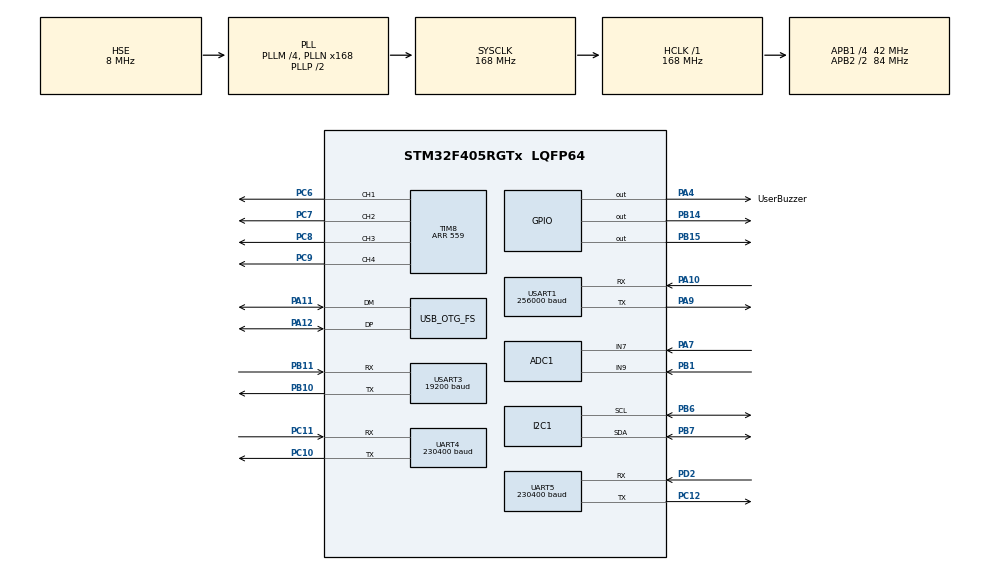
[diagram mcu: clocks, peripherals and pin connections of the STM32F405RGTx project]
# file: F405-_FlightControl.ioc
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ADC1.Channel-0\#ChannelRegularConversion=ADC_CHANNEL_7
ADC1.Channel-1\#ChannelRegularConversion=ADC_CHANNEL_9
ADC1.ClockPrescaler=ADC_CLOCK_SYNC_PCLK_DIV6
ADC1.ContinuousConvMode=ENABLE
ADC1.DMAContinuousRequests=ENABLE
ADC1.NbrOfConversion=2
ADC1.NbrOfConversionFlag=1
ADC1.Rank-0\#ChannelRegularConversion=1
ADC1.Rank-1\#ChannelRegularConversion=2
ADC1.SamplingTime-0\#ChannelRegularConversion=ADC_SAMPLETIME_480CYCLES
ADC1.SamplingTime-1\#ChannelRegularConversion=ADC_SAMPLETIME_480CYCLES
ADC1.ScanConvMode=ENABLE
ADC1.master=1
Dma.ADC1.4.Direction=DMA_PERIPH_TO_MEMORY
Dma.ADC1.4.FIFOMode=DMA_FIFOMODE_DISABLE
Dma.ADC1.4.Instance=DMA2_Stream0
Dma.ADC1.4.MemDataAlignment=DMA_MDATAALIGN_HALFWORD
Dma.ADC1.4.MemInc=DMA_MINC_ENABLE
Dma.ADC1.4.Mode=DMA_CIRCULAR
Dma.ADC1.4.PeriphDataAlignment=DMA_PDATAALIGN_HALFWORD
Dma.ADC1.4.PeriphInc=DMA_PINC_DISABLE
Dma.ADC1.4.Priority=DMA_PRIORITY_LOW
Dma.Request0=TIM8_CH1
Dma.Request1=TIM8_CH2
Dma.Request2=TIM8_CH3
Dma.Request3=TIM8_CH4/TRIG/COM
Dma.Request4=ADC1
Dma.Request5=UART5_RX
Dma.Request6=UART4_TX
Dma.Request7=USART3_RX
Dma.TIM8_CH1.0.Direction=DMA_MEMORY_TO_PERIPH
Dma.TIM8_CH1.0.FIFOMode=DMA_FIFOMODE_DISABLE
Dma.TIM8_CH1.0.Instance=DMA2_Stream2
Dma.TIM8_CH1.0.MemDataAlignment=DMA_MDATAALIGN_HALFWORD
Dma.TIM8_CH1.0.MemInc=DMA_MINC_ENABLE
Dma.TIM8_CH1.0.Mode=DMA_NORMAL
Dma.TIM8_CH1.0.PeriphDataAlignment=DMA_PDATAALIGN_HALFWORD
Dma.TIM8_CH1.0.PeriphInc=DMA_PINC_DISABLE
Dma.TIM8_CH1.0.Priority=DMA_PRIORITY_LOW
Dma.TIM8_CH2.1.Direction=DMA_MEMORY_TO_PERIPH
Dma.TIM8_CH2.1.FIFOMode=DMA_FIFOMODE_DISABLE
Dma.TIM8_CH2.1.Instance=DMA2_Stream3
Dma.TIM8_CH2.1.MemDataAlignment=DMA_MDATAALIGN_HALFWORD
Dma.TIM8_CH2.1.MemInc=DMA_MINC_ENABLE
Dma.TIM8_CH2.1.Mode=DMA_NORMAL
Dma.TIM8_CH2.1.PeriphDataAlignment=DMA_PDATAALIGN_HALFWORD
Dma.TIM8_CH2.1.PeriphInc=DMA_PINC_DISABLE
Dma.TIM8_CH2.1.Priority=DMA_PRIORITY_LOW
Dma.TIM8_CH3.2.Direction=DMA_MEMORY_TO_PERIPH
Dma.TIM8_CH3.2.FIFOMode=DMA_FIFOMODE_DISABLE
Dma.TIM8_CH3.2.Instance=DMA2_Stream4
Dma.TIM8_CH3.2.MemDataAlignment=DMA_MDATAALIGN_HALFWORD
Dma.TIM8_CH3.2.MemInc=DMA_MINC_ENABLE
Dma.TIM8_CH3.2.Mode=DMA_NORMAL
Dma.TIM8_CH3.2.PeriphDataAlignment=DMA_PDATAALIGN_HALFWORD
Dma.TIM8_CH3.2.PeriphInc=DMA_PINC_DISABLE
Dma.TIM8_CH3.2.Priority=DMA_PRIORITY_LOW
Dma.TIM8_CH4/TRIG/COM.3.Direction=DMA_MEMORY_TO_PERIPH
Dma.TIM8_CH4/TRIG/COM.3.FIFOMode=DMA_FIFOMODE_DISABLE
Dma.TIM8_CH4/TRIG/COM.3.Instance=DMA2_Stream7
Dma.TIM8_CH4/TRIG/COM.3.MemDataAlignment=DMA_MDATAALIGN_HALFWORD
Dma.TIM8_CH4/TRIG/COM.3.MemInc=DMA_MINC_ENABLE
Dma.TIM8_CH4/TRIG/COM.3.Mode=DMA_NORMAL
Dma.TIM8_CH4/TRIG/COM.3.PeriphDataAlignment=DMA_PDATAALIGN_HALFWORD
Dma.TIM8_CH4/TRIG/COM.3.PeriphInc=DMA_PINC_DISABLE
Dma.TIM8_CH4/TRIG/COM.3.Priority=DMA_PRIORITY_LOW
Dma.UART4_TX.6.Direction=DMA_MEMORY_TO_PERIPH
Dma.UART4_TX.6.FIFOMode=DMA_FIFOMODE_DISABLE
Dma.UART4_TX.6.Instance=DMA1_Stream4
Dma.UART4_TX.6.MemDataAlignment=DMA_MDATAALIGN_BYTE
Dma.UART4_TX.6.MemInc=DMA_MINC_ENABLE
Dma.UART4_TX.6.Mode=DMA_NORMAL
Dma.UART4_TX.6.PeriphDataAlignment=DMA_PDATAALIGN_BYTE
Dma.UART4_TX.6.PeriphInc=DMA_PINC_DISABLE
Dma.UART4_TX.6.Priority=DMA_PRIORITY_LOW
Dma.UART5_RX.5.Direction=DMA_PERIPH_TO_MEMORY
Dma.UART5_RX.5.FIFOMode=DMA_FIFOMODE_DISABLE
Dma.UART5_RX.5.Instance=DMA1_Stream0
Dma.UART5_RX.5.MemDataAlignment=DMA_MDATAALIGN_BYTE
Dma.UART5_RX.5.MemInc=DMA_MINC_ENABLE
Dma.UART5_RX.5.Mode=DMA_NORMAL
Dma.UART5_RX.5.PeriphDataAlignment=DMA_PDATAALIGN_BYTE
Dma.UART5_RX.5.PeriphInc=DMA_PINC_DISABLE
Dma.UART5_RX.5.Priority=DMA_PRIORITY_LOW
Dma.USART3_RX.7.Direction=DMA_PERIPH_TO_MEMORY
Dma.USART3_RX.7.FIFOMode=DMA_FIFOMODE_DISABLE
Dma.USART3_RX.7.Instance=DMA1_Stream1
Dma.USART3_RX.7.MemDataAlignment=DMA_MDATAALIGN_BYTE
Dma.USART3_RX.7.MemInc=DMA_MINC_ENABLE
Dma.USART3_RX.7.Mode=DMA_NORMAL
Dma.USART3_RX.7.PeriphDataAlignment=DMA_PDATAALIGN_BYTE
Dma.USART3_RX.7.PeriphInc=DMA_PINC_DISABLE
Dma.USART3_RX.7.Priority=DMA_PRIORITY_LOW
FREERTOS.Tasks01=defaultTask,32,128,StartDefaultTask,Default,NULL,Dynamic,NULL,NULL
FREERTOS.configCHECK_FOR_STACK_OVERFLOW=2
FREERTOS.configGENERATE_RUN_TIME_STATS=1
FREERTOS.configTOTAL_HEAP_SIZE=51200
FREERTOS.configUSE_IDLE_HOOK=1
FREERTOS.configUSE_MALLOC_FAILED_HOOK=1
FREERTOS.configUSE_STATS_FORMATTING_FUNCTIONS=1
I2C1.I2C_Mode=I2C_Fast
Mcu.Family=STM32F4
Mcu.Name=STM32F405RGTx
Mcu.Package=LQFP64
NVIC.DMA1_Stream0_IRQn=true\:5\:0\:false\:false\:true\:true\:false\:true\:true
NVIC.DMA1_Stream1_IRQn=true\:5\:0\:false\:false\:true\:true\:false\:true\:true
NVIC.DMA1_Stream4_IRQn=true\:5\:0\:false\:false\:true\:true\:false\:true\:true
NVIC.DMA2_Stream0_IRQn=true\:5\:0\:false\:false\:true\:true\:false\:true\:true
NVIC.DMA2_Stream2_IRQn=true\:5\:0\:false\:false\:true\:true\:false\:true\:true
NVIC.DMA2_Stream3_IRQn=true\:5\:0\:false\:false\:true\:true\:false\:true\:true
NVIC.DMA2_Stream4_IRQn=true\:5\:0\:false\:false\:true\:true\:false\:true\:true
NVIC.DMA2_Stream7_IRQn=true\:5\:0\:false\:false\:true\:true\:false\:true\:true
NVIC.OTG_FS_IRQn=true\:5\:0\:false\:false\:true\:true\:false\:true\:true
NVIC.PriorityGroup=NVIC_PRIORITYGROUP_4
NVIC.TIM7_IRQn=true\:15\:0\:true\:false\:true\:false\:false\:true\:true
NVIC.TimeBase=TIM7_IRQn
NVIC.TimeBaseIP=TIM7
NVIC.UART4_IRQn=true\:5\:0\:false\:false\:true\:true\:true\:true\:true
NVIC.UART5_IRQn=true\:5\:0\:false\:false\:true\:true\:true\:true\:true
NVIC.USART1_IRQn=true\:5\:0\:false\:false\:true\:true\:true\:true\:true
NVIC.USART3_IRQn=true\:5\:0\:false\:false\:true\:true\:true\:true\:true
PA10.Mode=Asynchronous
PA10.Signal=USART1_RX
PA11.Mode=Host_Only
PA11.Signal=USB_OTG_FS_DM
PA12.Mode=Host_Only
PA12.Signal=USB_OTG_FS_DP
PA13.Mode=Serial_Wire
PA13.Signal=SYS_JTMS-SWDIO
PA14.Mode=Serial_Wire
PA14.Signal=SYS_JTCK-SWCLK
PA4.GPIO_Label=UserBuzzer
PA4.Signal=GPIO_Output
PA7.Signal=ADCx_IN7
PA9.Mode=Asynchronous
PA9.Signal=USART1_TX
PB1.Signal=ADCx_IN9
PB10.Mode=Asynchronous
PB10.Signal=USART3_TX
PB11.Mode=Asynchronous
PB11.Signal=USART3_RX
PB14.PinState=GPIO_PIN_SET
PB14.Signal=GPIO_Output
PB15.PinState=GPIO_PIN_SET
PB15.Signal=GPIO_Output
PB6.Mode=I2C
PB6.Signal=I2C1_SCL
PB7.Mode=I2C
PB7.Signal=I2C1_SDA
PC10.Mode=Asynchronous
PC10.Signal=UART4_TX
PC11.Mode=Asynchronous
PC11.Signal=UART4_RX
PC12.Mode=Asynchronous
PC12.Signal=UART5_TX
PC6.Signal=S_TIM8_CH1
PC7.Signal=S_TIM8_CH2
PC8.Signal=S_TIM8_CH3
PC9.Signal=S_TIM8_CH4
PD2.Mode=Asynchronous
PD2.Signal=UART5_RX
PH0-OSC_IN.Mode=HSE-External-Oscillator
PH0-OSC_IN.Signal=RCC_OSC_IN
PH1-OSC_OUT.Mode=HSE-External-Oscillator
PH1-OSC_OUT.Signal=RCC_OSC_OUT
ProjectManager.HeapSize=0x200
ProjectManager.StackSize=0x400
ProjectManager.TargetToolchain=MDK-ARM V5.32
RCC.48MHZClocksFreq_Value=48000000
RCC.AHBFreq_Value=168000000
RCC.APB1CLKDivider=RCC_HCLK_DIV4
RCC.APB1Freq_Value=42000000
RCC.APB1TimFreq_Value=84000000
RCC.APB2CLKDivider=RCC_HCLK_DIV2
RCC.APB2Freq_Value=84000000
RCC.APB2TimFreq_Value=168000000
RCC.CortexFreq_Value=168000000
RCC.HCLKFreq_Value=168000000
RCC.HSE_VALUE=8000000
RCC.HSI_VALUE=16000000
RCC.LSE_VALUE=32768
RCC.PLLM=4
RCC.PLLN=168
RCC.PLLQ=7
RCC.SYSCLKFreq_VALUE=168000000
RCC.SYSCLKSource=RCC_SYSCLKSOURCE_PLLCLK
RCC.VCOOutputFreq_Value=336000000
SH.ADCx_IN7.0=ADC1_IN7,IN7
SH.ADCx_IN9.0=ADC1_IN9,IN9
SH.S_TIM8_CH1.0=TIM8_CH1,PWM Generation1 CH1
SH.S_TIM8_CH2.0=TIM8_CH2,PWM Generation2 CH2
SH.S_TIM8_CH3.0=TIM8_CH3,PWM Generation3 CH3
SH.S_TIM8_CH4.0=TIM8_CH4,PWM Generation4 CH4
TIM6.Prescaler=839
TIM8.Channel-PWM\ Generation1\ CH1=TIM_CHANNEL_1
TIM8.Channel-PWM\ Generation2\ CH2=TIM_CHANNEL_2
TIM8.Channel-PWM\ Generation3\ CH3=TIM_CHANNEL_3
TIM8.Channel-PWM\ Generation4\ CH4=TIM_CHANNEL_4
TIM8.Period=559
UART4.BaudRate=230400
UART4.VirtualMode=Asynchronous
UART5.BaudRate=230400
UART5.VirtualMode=Asynchronous
USART1.BaudRate=256000
USART1.VirtualMode=VM_ASYNC
USART3.BaudRate=19200
USART3.VirtualMode=VM_ASYNC
USB_HOST.SW_VBUS_DRIVE_HID_FS=true
USB_HOST.USBH_DEBUG_LEVEL-HID_FS=0
USB_HOST.USBH_HandleTypeDef-HID_FS=hUsbHostFS
USB_HOST.USBH_MAX_DATA_BUFFER-HID_FS=1024
USB_HOST.USBH_MAX_NUM_SUPPORTED_CLASS-HID_FS=2
USB_HOST.VirtualModeFS=Hid
USB_OTG_FS.VirtualMode=Host_Only
USB_OTG_FS.phy_itface=HCD_PHY_EMBEDDED
VP_FREERTOS_VS_CMSIS_V2.Mode=CMSIS_V2
VP_SYS_VS_tim7.Mode=TIM7
VP_TIM6_VS_ClockSourceINT.Mode=Enable_Timer
VP_TIM8_VS_ClockSourceINT.Mode=Internal
VP_USB_HOST_VS_USB_HOST_HID_FS.Mode=HID_FS
board=custom

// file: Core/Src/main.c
/* USER CODE BEGIN Header */
/**
  ******************************************************************************
  * @file           : main.c
  * @brief          : Main program body
  ******************************************************************************
  * @attention
  *
  * Copyright (c) 2026 STMicroelectronics.
  * All rights reserved.
  *
  * This software is licensed under terms that can be found in the LICENSE file
  * in the root directory of this software component.
  * If no LICENSE file comes with this software, it is provided AS-IS.
  *
  ******************************************************************************
  */
/* USER CODE END Header */
#include "main.h"
#include "cmsis_os.h"
#include "adc.h"
#include "dma.h"
#include "i2c.h"
#include "tim.h"
#include "usart.h"
#include "usb_host.h"
#include "gpio.h"

/* USER CODE BEGIN Includes */
#include <stdio.h>
#include <stdio.h>
#include "FreeRTOS.h"
#include "Bsp_stp23L.h"
#include "Bsp_lc307.h"

/* USER CODE END Includes */

/* USER CODE BEGIN PTD */
uint8_t uart4_recv;
uint8_t uart1_recv;

/* USER CODE END PTD */

//对于光流模块需要在mian里面初始化才可以使用，STP23l是上电就测数据所以不用

void SystemClock_Config(void);
void MX_FREERTOS_Init(void);

int main(void)
{

  /* MCU Configuration--------------------------------------------------------*/

  /* Reset of all peripherals, Initializes the Flash interface and the Systick. */
  HAL_Init();

  /* Configure the system clock */
  SystemClock_Config();

  /* Initialize all configured peripherals */
  MX_GPIO_Init();
  MX_DMA_Init();
  MX_USART1_UART_Init();
  (void)HAL_UART_Transmit(&huart1, (const uint8_t *)"BOOT:UART1\r\n", 12U, 100U);
  MX_UART4_Init();
  MX_UART5_Init();
  MX_USART3_UART_Init();
  (void)HAL_UART_Transmit(&huart1, (const uint8_t *)"BOOT:PERIPH\r\n", 13U, 100U);
  MX_TIM6_Init();
  MX_TIM8_Init();
  MX_ADC1_Init();
  MX_I2C1_Init();
  /* USER CODE BEGIN 2 */

HAL_UART_Receive_IT(&huart1,&uart1_recv,1);
HAL_UART_Receive_IT(&huart4,&uart4_recv,1);
  (void)HAL_UART_Transmit(&huart1, (const uint8_t *)"BOOT:LC307\r\n", 12U, 100U);

//���IIC�Ƿ�ɹ�����
//uint8_t iic_recv=0xff;
//HAL_I2C_Mem_Read(&hi2c1,0x68<<1,0x00,I2C_MEMADD_SIZE_8BIT,&iic_recv,1,500);
//printf("0x%2X\r\n",iic_recv);
  /* USER CODE END 2 */
  g_lc307_config_ok = (Opf_LC307_Init() == 0U) ? 1U : 0U;
  (void)HAL_UART_Transmit(&huart1, (const uint8_t *)"BOOT:RTOS\r\n", 11U, 100U);
  /* Init scheduler */
  osKernelInitialize();  /* Call init function for freertos objects (in cmsis_os2.c) */
  MX_FREERTOS_Init();

  /* Start scheduler */
  osKernelStart();

  /* We should never get here as control is now taken by the scheduler */

  /* Infinite loop */
  while (1)
  {

  }
}

void SystemClock_Config(void)
{
  RCC_OscInitTypeDef RCC_OscInitStruct = {0};
  RCC_ClkInitTypeDef RCC_ClkInitStruct = {0};

  /** Configure the main internal regulator output voltage
  */
  __HAL_RCC_PWR_CLK_ENABLE();
  __HAL_PWR_VOLTAGESCALING_CONFIG(PWR_REGULATOR_VOLTAGE_SCALE1);

  /** Initializes the RCC Oscillators according to the specified parameters
  * in the RCC_OscInitTypeDef structure.
  */
  RCC_OscInitStruct.OscillatorType = RCC_OSCILLATORTYPE_HSE;
  RCC_OscInitStruct.HSEState = RCC_HSE_ON;
  RCC_OscInitStruct.PLL.PLLState = RCC_PLL_ON;
  RCC_OscInitStruct.PLL.PLLSource = RCC_PLLSOURCE_HSE;
  RCC_OscInitStruct.PLL.PLLM = 4;
  RCC_OscInitStruct.PLL.PLLN = 168;
  RCC_OscInitStruct.PLL.PLLP = RCC_PLLP_DIV2;
  RCC_OscInitStruct.PLL.PLLQ = 7;
  if (HAL_RCC_OscConfig(&RCC_OscInitStruct) != HAL_OK)
  {
    Error_Handler();
  }

  /** Initializes the CPU, AHB and APB buses clocks
  */
  RCC_ClkInitStruct.ClockType = RCC_CLOCKTYPE_HCLK|RCC_CLOCKTYPE_SYSCLK
                              |RCC_CLOCKTYPE_PCLK1|RCC_CLOCKTYPE_PCLK2;
  RCC_ClkInitStruct.SYSCLKSource = RCC_SYSCLKSOURCE_PLLCLK;
  RCC_ClkInitStruct.AHBCLKDivider = RCC_SYSCLK_DIV1;
  RCC_ClkInitStruct.APB1CLKDivider = RCC_HCLK_DIV4;
  RCC_ClkInitStruct.APB2CLKDivider = RCC_HCLK_DIV2;

  if (HAL_RCC_ClockConfig(&RCC_ClkInitStruct, FLASH_LATENCY_5) != HAL_OK)
  {
    Error_Handler();
  }
}

/* USER CODE BEGIN 4 */

UART_HandleTypeDef *DebugSerial = &huart1;

int fputc(int ch,FILE* stream)
{
  (void)stream;

  if (DebugSerial == NULL)
  {
    return EOF;
  }

  if (HAL_UART_Transmit(DebugSerial, (const uint8_t *)&ch, 1U, 10U) != HAL_OK)
  {
    return EOF;
  }

  return ch;
}

/**
  * @brief  The application entry point.
  * @retval int
  */

/* USER CODE BEGIN 4 */

/* USER CODE END 4 */

void HAL_TIM_PeriodElapsedCallback(TIM_HandleTypeDef *htim)
{
  if (htim->Instance == TIM7)
  {
    HAL_IncTick();
  }
}

void Error_Handler(void)
{
  /* USER CODE BEGIN Error_Handler_Debug */
  /* User can add his own implementation to report the HAL error return state */
  if (huart1.Instance != NULL)
  {
    (void)HAL_UART_Transmit(&huart1, (const uint8_t *)"ERROR\r\n", 7U, 100U);
  }
  __disable_irq();
  while (1)
  {
  }
  /* USER CODE END Error_Handler_Debug */
}

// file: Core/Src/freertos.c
/* USER CODE BEGIN Header */
/**
  ******************************************************************************
  * File Name          : freertos.c
  * Description        : Code for freertos applications
  ******************************************************************************
  * @attention
  *
  * Copyright (c) 2026 STMicroelectronics.
  * All rights reserved.
  *
  * This software is licensed under terms that can be found in the LICENSE file
  * in the root directory of this software component.
  * If no LICENSE file comes with this software, it is provided AS-IS.
  *
  ******************************************************************************
  */
/* USER CODE END Header */

#include "FreeRTOS.h"
#include "task.h"
#include "main.h"
#include "cmsis_os.h"

/* USER CODE BEGIN Includes */
#include "tim.h"
#include "queue.h"
#include "semphr.h"
#include <stdio.h>
#include "icm20948_reg.h"
#include "Bsp_imu.h"
#include "usart.h"
#include "math.h"
#include "attitude_task.h"
#include "Dshot.h"
#include "Control_task.h"
#include "power_task.h"
#include "Bsp_stp23L.h"
#include "STP23L_task.h"
#include "usb_host.h"
#include "show_task.h"
#include "Bluetooth_task.h"
#include "Bsp_buzzer.h"
#include "PS2_task.h"
#include "Bsp_lc307.h"
#include "LC307_task.h"
/* USER CODE END Includes */

/* USER CODE BEGIN PTD */
//记住整个Free RTOS的框图：
//MX_FREERTOS_Init()
//�?
//├── 创建 Mutex 互斥�?
//�?
//├── 创建 Semaphore 信号�?
//�?
//├── 创建 Timer Free RTOS软件定时�?
//�?
//├── 创建 Queue 队列
//�?
//├── 创建 Task 任务
//�?
//└── 创建 Event Group 事件�?
/* USER CODE END PTD */

/* USER CODE BEGIN PD */

#define userconfig_RTOS_DEBUG  0//是否开启调试任�?
/* USER CODE END PD */

/* USER CODE BEGIN Variables */
/* USER CODE BEGIN 0 */

//队列创建
 QueueHandle_t g_xQueueSTP23L_Ori=NULL;//激光雷达队列任务句�?
 QueueHandle_t g_xQueueBlueTooth_Ori = NULL;//蓝牙软件队列任务句柄
 QueueHandle_t g_xQueueLC307_Ori = NULL;//光流模块队列任务句柄
 QueueHandle_t g_xQueueFlyControl; //PS手柄队列任务句柄
//互斥锁创�?
 SemaphoreHandle_t g_xMutex_Printf = NULL;//printf互斥锁句�?
//定时器创�?
 TimerHandle_t g_BuzzerSuccessTimer;
 TimerHandle_t g_BuzzerFailTimer;

#include <string.h>
#include <stdlib.h>
/* USER CODE END 0 */
/* USER CODE END Variables */
/* Definitions for defaultTask */
osThreadId_t defaultTaskHandle;
const osThreadAttr_t defaultTask_attributes = {
  .name = "defaultTask",
  .stack_size = 1024 * 4,
  .priority = (osPriority_t) osPriorityIdle,
};

/* USER CODE BEGIN FunctionPrototypes */

#if (1 ==userconfig_RTOS_DEBUG )
void RTOSDebugTask(void *param);
#endif //如果�?，执行调试RTOSDebugTask(void *param);

/* USER CODE END FunctionPrototypes */

void StartDefaultTask(void *argument);

extern void MX_USB_HOST_Init(void);
void MX_FREERTOS_Init(void); /* (MISRA C 2004 rule 8.1) */

/* Hook prototypes */
void configureTimerForRunTimeStats(void);
unsigned long getRunTimeCounterValue(void);
void vApplicationIdleHook(void);
void vApplicationStackOverflowHook(xTaskHandle xTask, signed char *pcTaskName);
void vApplicationMallocFailedHook(void);

/* USER CODE BEGIN 1 */
/* Functions needed when configGENERATE_RUN_TIME_STATS is on */
__weak void configureTimerForRunTimeStats(void)
{
  //定时器TIM6用来�?getRunTimeCounterValue（）
	HAL_TIM_Base_Start(&htim6);
}

__weak unsigned long getRunTimeCounterValue(void)
{
  static unsigned long time = 0 ;
	static uint16_t lasttime = 0;
	static uint16_t nowtime = 0;

	nowtime = TIM6->CNT; //获得当前计数�?

	//如果本次计数值小于上次计数值，说明发生了定时器计数溢出
	if( nowtime < lasttime )
	{
		time += (nowtime + 0xffff - lasttime); //溢出后的时间增量
	}
	else time += ( nowtime - lasttime ) ; //未发生溢出，增量为本次时�?上次时间

	lasttime = nowtime;

	return time;
	//计算CPU的占用率
}

/* USER CODE END 1 */

/* USER CODE BEGIN 2 */
void vApplicationIdleHook( void )
{
   /* vApplicationIdleHook() will only be called if configUSE_IDLE_HOOK is set
   to 1 in FreeRTOSConfig.h. It will be called on each iteration of the idle
   task. It is essential that code added to this hook function never attempts
   to block in any way (for example, call xQueueReceive() with a block time
   specified, or call vTaskDelay()). If the application makes use of the
   vTaskDelete() API function (as this demo application does) then it is also
   important that vApplicationIdleHook() is permitted to return to its calling
   function, because it is the responsibility of the idle task to clean up
   memory allocated by the kernel to any task that has since been deleted. */
    //任务回调函数

}

/* USER CODE END 2 */

/* USER CODE BEGIN 4 */

extern UART_HandleTypeDef *DebugSerial;
static void DebugUart_RawWrite(const char *text)
{
  if ((DebugSerial != NULL) && (text != NULL))
  {
    (void)HAL_UART_Transmit(DebugSerial,
                            (const uint8_t *)text,
                            (uint16_t)strlen(text),
                            5U);
  }
}

void vApplicationStackOverflowHook(xTaskHandle xTask, signed char *pcTaskName)
{
   /* Run time stack overflow checking is performed if
   configCHECK_FOR_STACK_OVERFLOW is defined to 1 or 2. This hook function is
   called if a stack overflow is detected. */
  (void)xTask;
  DebugUart_RawWrite("stack overflow: ");
  DebugUart_RawWrite((const char *)pcTaskName);
  DebugUart_RawWrite("\r\n");

  taskDISABLE_INTERRUPTS();
  for (;;)
  {
  }
}

/* USER CODE END 4 */

/* USER CODE BEGIN 5 */
void vApplicationMallocFailedHook(void)
{
   /* vApplicationMallocFailedHook() will only be called if
   configUSE_MALLOC_FAILED_HOOK is set to 1 in FreeRTOSConfig.h. It is a hook
   function that will get called if a call to pvPortMalloc() fails.
   pvPortMalloc() is called internally by the kernel whenever a task, queue,
   timer or semaphore is created. It is also called by various parts of the
   demo application. If heap_1.c or heap_2.c are used, then the size of the
   heap available to pvPortMalloc() is defined by configTOTAL_HEAP_SIZE in
   FreeRTOSConfig.h, and the xPortGetFreeHeapSize() API function can be used
   to query the size of free heap space that remains (although it does not
   provide information on how the remaining heap might be fragmented). */

	//内存分配失败函数
  DebugUart_RawWrite("malloc failed. check heap size\r\n");

  taskDISABLE_INTERRUPTS();
  for (;;)
  {
  }
}

/* USER CODE END 5 */

void MX_FREERTOS_Init(void) {

  /* USER CODE BEGIN RTOS_MUTEX */
  /* add mutexes, ... */

	 // ========== 在这里创�?printf 互斥�?==========
  g_xMutex_Printf = xSemaphoreCreateMutex();
  if(g_xMutex_Printf == NULL)
  {
    Error_Handler();
  }
  /* USER CODE END RTOS_MUTEX */

  /* USER CODE BEGIN RTOS_TIMERS */
  /* start timers, add new ones, ... */

  // ========== 在这里创�?RTOS定时器事�?==========
	g_BuzzerSuccessTimer = xTimerCreate(
    "BuzzerOK",                  // 定时器名�?
    pdMS_TO_TICKS(10),           // 定时时间�?0ms
    pdFALSE,                     // 不自动重复，单次定时�?
    NULL,                        // Timer ID
    Timer_SuccessCallback        // 时间到了以后调用的回�?
);

/* 失败提示定时�?*/
g_BuzzerFailTimer = xTimerCreate(
    "BuzzerERR",                 // 定时器名�?
    pdMS_TO_TICKS(10),            // 定时时间�?0ms
    pdFALSE,                      // 单次定时�?
    NULL,                         // Timer ID
    Timer_FailCallback            // 时间到了以后调用的回�?
);
  /* USER CODE END RTOS_TIMERS */

  /* USER CODE BEGIN RTOS_QUEUES */
  /* add queues, ... */

  // ========== 在这里创�?RTOS队列 ==========
	//如果内存不足创建失败，返回NULL,第一个参数是队列的项数，第二个参数是每一项占用多少的字节，包含自己创立的DMA结构体的数据项和缓冲�?
	//STP23L模块队列模块
	g_xQueueSTP23L_Ori = xQueueCreate(3, sizeof(OriData_STP23L_t));
  if (g_xQueueSTP23L_Ori == NULL)
  {
    Error_Handler();
  }
	//蓝牙软件队列模块
	g_xQueueBlueTooth_Ori = xQueueCreate(128, sizeof(uint8_t));
  if(g_xQueueBlueTooth_Ori == NULL)
  {
    Error_Handler();
  }
	//光流模块队列模块
	g_xQueueLC307_Ori = xQueueCreate(3, sizeof(DMABuf_oridata_LC307_t));
  if(g_xQueueLC307_Ori == NULL)
  {
    Error_Handler();
  }
	//PS手柄队列模块
	g_xQueueFlyControl = xQueueCreate(1,sizeof(FlyControlType_t));
	if(g_xQueueFlyControl == NULL)
  {
    Error_Handler();
  }
  /* USER CODE END RTOS_QUEUES */

  /* Create the thread(s) */
  /* creation of defaultTask */
  defaultTaskHandle = osThreadNew(StartDefaultTask, NULL, &defaultTask_attributes);

  /* USER CODE BEGIN RTOS_THREADS */
  /* add threads, ... */

	//创建Free RTOS调试任务
// #if ( 1 == userconfig_RTOS_DEBUG )
//	 static uint16_t delaytime = 5000;//打印时间间隔，单位tick
//	 xTaskCreate(RTOSDebugTask,"DebugTask",512, &delaytime ,0,NULL);
// #endif

  /* USER CODE END RTOS_THREADS */

  /* USER CODE BEGIN RTOS_EVENTS */

  // ========== 在这里创�?RTOS任务 ==========
	if (xTaskCreate(attitude_task, "Attitude", 1024, NULL, 3, NULL) != pdPASS)
	{
	  Error_Handler();
	}
	if (xTaskCreate(control_task, "Control", 512, NULL, 2, NULL) != pdPASS)
	{
	  Error_Handler();
	}
	if (xTaskCreate(power_task, "Power", 512, NULL, 1, NULL) != pdPASS)
	{
	  Error_Handler();
	}
	if (xTaskCreate(STP23L_task, "STP23L", 512, NULL, 2, NULL) != pdPASS)
	{
	  Error_Handler();
	}
	if(xTaskCreate(show_task, "show_task", 512, NULL, 1, NULL) != pdPASS)
	{
		 Error_Handler();
	}
	if(xTaskCreate(Bluetooth_task,"BTAPPTask",256,NULL,1,NULL) !=pdPASS)//xTaskCreate()第一个参数必须是void Bluetooth_task(void *param)这样�?
	{
		 Error_Handler();
	}
	if(xTaskCreate(PS2_task, "PS2", 256, NULL, 2, NULL) != pdPASS)
  {
    Error_Handler();
  }
	if(xTaskCreate(LC307_task,"LC307",1024,NULL,2,NULL) !=pdPASS)//xTaskCreate()第一个参数必须是void LC307_task(void *param)这样�?
	{
		 Error_Handler();
	}
  /* add events, ... */
  /* USER CODE END RTOS_EVENTS */

}

void StartDefaultTask(void *argument)
{
  /* init code for USB_HOST */
  MX_USB_HOST_Init();
  /* USER CODE BEGIN StartDefaultTask */
	/*
 * Normal �?Circular 都需要首次启�?DMA�?
 * 本工程把首次启动放在默认任务中�?
 * Normal 模式接收结束后，还需要在 UART callback 中重新启动�?
 */
//补充：HAL库里面的HAL_UARTEx_ReceiveToIdle_DMA参数�?串口+DMA 搬来的原始字节存放地址+DMA缓冲�?
//第二个参数：DMABuf_oridata_LC307.Buf
//                         �?
//                         └── 驱动里定义的 uint8_t 接收数组

//第三个参数：userconfig_LC307_DMABUF_LEN
//                         �?
//                         └── 驱动头文件里定义的容�?50
	//启用STP23L的DMA搬运
	HAL_UARTEx_ReceiveToIdle_DMA(&huart5,DMABuf_oridata_stp23L.Buf,userconfig_STP23L_DMABUF_LEN);
	//启用LC307的DMA搬运
	//����ֻ����״���������ʵ��DMA��������LC307����
	if(g_lc307_config_ok != 0U)
	{
		taskENTER_CRITICAL();
		g_lc307_rx_requests |= LC307_RX_REQUEST_START;
		taskEXIT_CRITICAL();
	}
    for (;;)
    {

        /* 让出 CPU */
        vTaskDelay(pdMS_TO_TICKS(100));
    }
  /* USER CODE END StartDefaultTask */
}

/* USER CODE BEGIN Application */
//#if ( 1 == userconfig_RTOS_DEBUG )
//void RTOSDebugTask(void *param)
//{
//    uint16_t* delaytime = (uint16_t*)param;
//    static char showbuf[800];

//    while( 1 )
//    {
//        if (xSemaphoreTake(g_xMutex_Printf, portMAX_DELAY) == pdTRUE)
//        {
//            vTaskGetRunTimeStats(showbuf);
//            printf("TaskName\tUseTime\tCPU\r\n");
//            printf("%s\r\n", showbuf);
//            xSemaphoreGive(g_xMutex_Printf);
//        }
//        vTaskDelay(*delaytime);

//        if (xSemaphoreTake(g_xMutex_Printf, portMAX_DELAY) == pdTRUE)
//        {
//            vTaskList(showbuf);
//            printf("TaskName\tTaskState\tTaskPrio\tStackSize\tTaskNum\r\n");
//            printf("%s\r\n", showbuf);
//            xSemaphoreGive(g_xMutex_Printf);
//        }
//        vTaskDelay(*delaytime);

//        if (xSemaphoreTake(g_xMutex_Printf, portMAX_DELAY) == pdTRUE)
//        {
//            printf("free heap size : %d bytes\r\n\r\n", xPortGetFreeHeapSize());
//            xSemaphoreGive(g_xMutex_Printf);
//        }
//        vTaskDelay(*delaytime);
//    }
//}
//#endif

/* USER CODE END Application */
